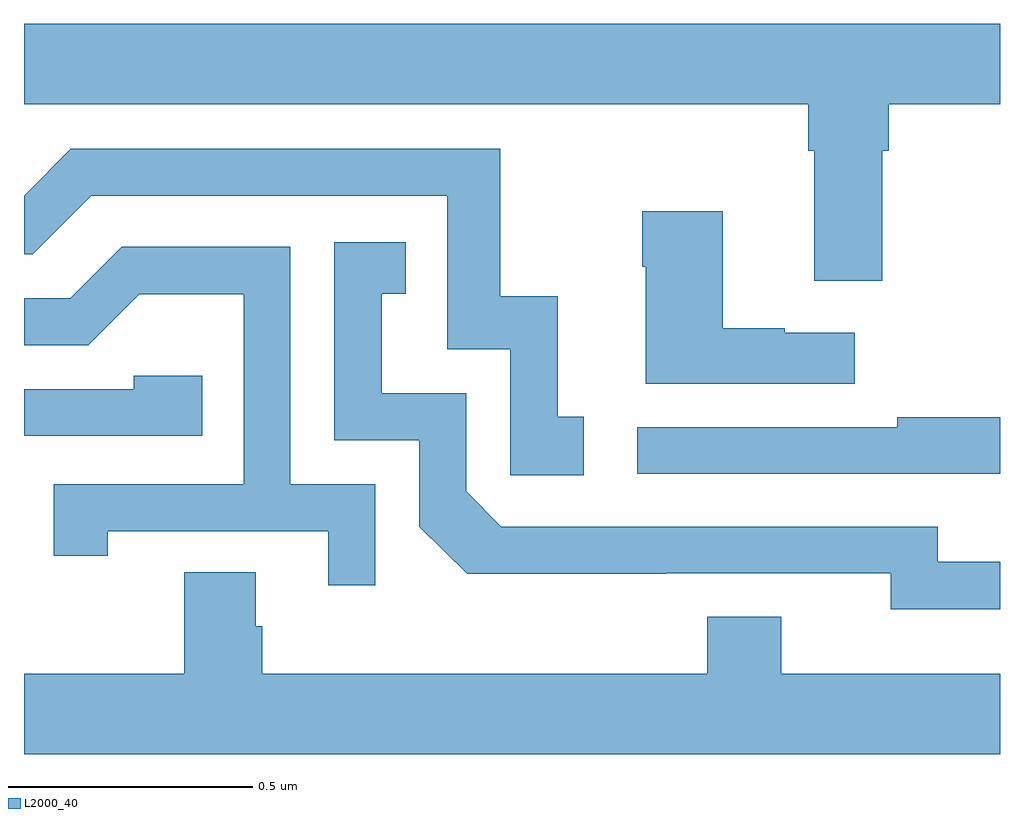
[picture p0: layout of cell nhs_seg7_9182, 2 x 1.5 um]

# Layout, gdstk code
import gdstk
lib = gdstk.Library(unit=1e-6, precision=1e-09)
def P(c, l, *ps):  # polygons
    for p in ps: c.add(gdstk.Polygon(p, *l))
L2000_40 = (2000, 40)

nhs_seg7_9182 = lib.new_cell('nhs_seg7_9182')
P(nhs_seg7_9182, L2000_40, [(235.759,1040.48),(235.772,1040.48),(235.772,1040.576),(236,1040.576),(236,1040.74),(234,1040.74),(234,1040.576),(235.607,1040.576),(235.607,1040.48),(235.619,1040.48),(235.619,1040.214),(235.759,1040.214)],
  [(235.147,1039.935),(235.094,1039.935),(235.094,1040.182),(234.976,1040.182),(234.976,1040.484),(234.096,1040.484),(234,1040.388),(234,1040.268),(234.018,1040.268),(234.138,1040.388),(234.867,1040.388),(234.867,1040.073),(234.996,1040.073),(234.996,1039.815),(235.147,1039.815)],
  [(235.702,1040.107),(235.559,1040.107),(235.559,1040.117),(235.432,1040.117),(235.432,1040.356),(235.267,1040.356),(235.267,1040.243),(235.274,1040.243),(235.274,1040.003),(235.702,1040.003)],
  [(236,1039.638),(235.872,1039.638),(235.872,1039.71),(234.978,1039.71),(234.906,1039.782),(234.906,1039.983),(234.733,1039.983),(234.733,1040.187),(234.782,1040.187),(234.782,1040.293),(234.636,1040.293),(234.636,1039.887),(234.81,1039.887),(234.81,1039.71),(234.908,1039.613),(235.316,1039.613),(235.316,1039.614),(235.776,1039.614),(235.776,1039.541),(236,1039.541)],
  [(234.72,1039.797),(234.546,1039.797),(234.546,1040.283),(234.2,1040.283),(234.095,1040.178),(234,1040.178),(234,1040.082),(234.132,1040.082),(234.236,1040.186),(234.45,1040.186),(234.45,1039.797),(234.061,1039.797),(234.061,1039.65),(234.172,1039.65),(234.172,1039.701),(234.623,1039.701),(234.623,1039.59),(234.72,1039.59)],
  [(234.365,1040.019),(234.225,1040.019),(234.225,1039.992),(234,1039.992),(234,1039.896),(234.365,1039.896)],
  [(236,1039.934),(235.789,1039.934),(235.789,1039.914),(235.257,1039.914),(235.257,1039.818),(236,1039.818)],
  [(236,1039.408),(235.552,1039.408),(235.552,1039.525),(235.4,1039.525),(235.4,1039.408),(234.488,1039.408),(234.488,1039.506),(234.475,1039.506),(234.475,1039.616),(234.328,1039.616),(234.328,1039.408),(234,1039.408),(234,1039.244),(236,1039.244)])

lib.write_gds('nhs_seg7_9182.gds')
